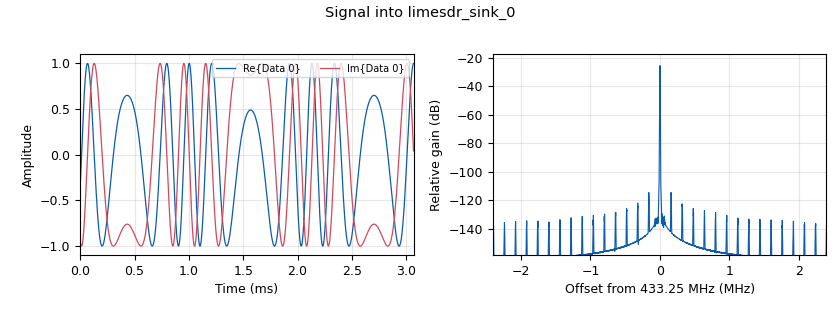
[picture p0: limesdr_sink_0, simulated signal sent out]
<?xml version='1.0' encoding='utf-8'?>
<?grc format='1' created='3.7.11'?>
<flow_graph>
<block>
<key>options</key>
<param><key>id</key><value>top_block</value></param>
<param><key>generate_options</key><value>qt_gui</value></param>
</block>
<block>
<key>variable</key>
<param><key>id</key><value>input_rate</value></param>
<param><key>value</key><value>160e3</value></param>
</block>
<block>
<key>variable</key>
<param><key>id</key><value>interp</value></param>
<param><key>value</key><value>30</value></param>
</block>
<block>
<key>variable</key>
<param><key>id</key><value>samp_rate</value></param>
<param><key>value</key><value>interp*input_rate</value></param>
</block>
<block>
<key>variable_qtgui_range</key>
<param><key>id</key><value>tx_gain</value></param>
<param><key>value</key><value>0</value></param>
<param><key>label</key><value>Output Gain</value></param>
<param><key>orient</key><value>Qt.Horizontal</value></param>
<param><key>start</key><value>0</value></param>
<param><key>step</key><value>1</value></param>
<param><key>stop</key><value>60</value></param>
<param><key>rangeType</key><value>int</value></param>
</block>
<block>
<key>analog_nbfm_tx</key>
<param><key>id</key><value>analog_nbfm_tx_0</value></param>
<param><key>audio_rate</key><value>160000</value></param>
<param><key>max_dev</key><value>5e3</value></param>
<param><key>fh</key><value>-1.0</value></param>
<param><key>quad_rate</key><value>160000</value></param>
<param><key>tau</key><value>75e-6</value></param>
</block>
<block>
<key>analog_sig_source_x</key>
<param><key>id</key><value>analog_sig_source_x_0</value></param>
<param><key>amp</key><value>1</value></param>
<param><key>freq</key><value>440</value></param>
<param><key>offset</key><value>0</value></param>
<param><key>type</key><value>float</value></param>
<param><key>samp_rate</key><value>160000</value></param>
<param><key>waveform</key><value>analog.GR_COS_WAVE</value></param>
</block>
<block>
<key>limesdr_sink</key>
<param><key>id</key><value>limesdr_sink_0</value></param>
<param><key>channel</key><value>0</value></param>
<param><key>analog_filter_ch0</key><value>1</value></param>
<param><key>cmix_mode_ch0</key><value>0</value></param>
<param><key>calibr_bandw_ch0</key><value>10e6</value></param>
<param><key>calibration_ch0</key><value>0</value></param>
<param><key>digital_bandw_ch0</key><value>0</value></param>
<param><key>digital_filter_ch0</key><value>0</value></param>
<param><key>gain_dB_ch0</key><value>tx_gain</value></param>
<param><key>pa_path_ch0</key><value>1</value></param>
<param><key>pa_path_mini</key><value>1</value></param>
<param><key>analog_filter_ch1</key><value>1</value></param>
<param><key>cmix_mode_ch1</key><value>0</value></param>
<param><key>calibr_bandw_ch1</key><value>10e6</value></param>
<param><key>calibration_ch1</key><value>0</value></param>
<param><key>digital_bandw_ch1</key><value>0</value></param>
<param><key>digital_filter_ch1</key><value>0</value></param>
<param><key>gain_dB_ch1</key><value>30</value></param>
<param><key>pa_path_ch1</key><value>1</value></param>
<param><key>chip_mode</key><value>1</value></param>
<param><key>serial</key><value>1D42562394D4C1</value></param>
<param><key>device_type</key><value>1</value></param>
<param><key>file_switch</key><value>0</value></param>
<param><key>oversample</key><value>0</value></param>
<param><key>rf_freq</key><value>433.25e6</value></param>
<param><key>samp_rate</key><value>samp_rate</value></param>
</block>
<block>
<key>osmosdr_sink</key>
<param><key>id</key><value>osmosdr_sink_0</value></param>
<param><key>bb_gain0</key><value>0</value></param>
<param><key>freq0</key><value>437.505e6</value></param>
<param><key>if_gain0</key><value>variable_qtgui_range_0</value></param>
<param><key>gain0</key><value>14</value></param>
<param><key>args</key><value>soapy=0,driver=lime</value></param>
<param><key>_enabled</key><value>0</value></param>
<param><key>type</key><value>fc32</value></param>
<param><key>sample_rate</key><value>samp_rate</value></param>
<param><key>sync</key><value></value></param>
</block>
<block>
<key>rational_resampler_xxx</key>
<param><key>id</key><value>rational_resampler_xxx_0</value></param>
<param><key>decim</key><value>1</value></param>
<param><key>interp</key><value>interp</value></param>
<param><key>taps</key><value></value></param>
<param><key>type</key><value>ccc</value></param>
</block>
<connection><source_block_id>analog_nbfm_tx_0</source_block_id><sink_block_id>rational_resampler_xxx_0</sink_block_id><source_key>0</source_key><sink_key>0</sink_key></connection>
<connection><source_block_id>analog_sig_source_x_0</source_block_id><sink_block_id>analog_nbfm_tx_0</sink_block_id><source_key>0</source_key><sink_key>0</sink_key></connection>
<connection><source_block_id>rational_resampler_xxx_0</source_block_id><sink_block_id>limesdr_sink_0</sink_block_id><source_key>0</source_key><sink_key>0</sink_key></connection>
<connection><source_block_id>rational_resampler_xxx_0</source_block_id><sink_block_id>osmosdr_sink_0</sink_block_id><source_key>0</source_key><sink_key>0</sink_key></connection>
</flow_graph>
